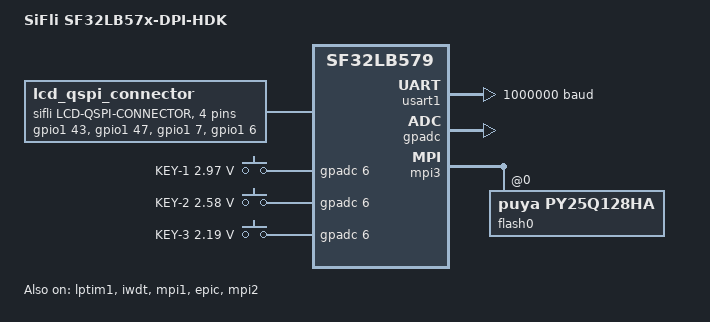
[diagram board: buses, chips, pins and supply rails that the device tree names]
// SPDX-FileCopyrightText: 2026 Core Devices LLC
// SPDX-License-Identifier: (GPL-2.0-only OR BSD-2-Clause)

/dts-v1/;

#include "sifli/sf32lb579.dtsi"
#include "sifli/sf32lb57xv6e.dtsi"
#include "sf32lb57_dpi_hdk-pinctrl.dtsi"

#include <dt-bindings/connector/sifli,lcd-qspi-connector.h>
#include <dt-bindings/gpio/gpio.h>
#include <dt-bindings/input/input.h>
#include <dt-bindings/interrupt-controller/irq.h>

/ {
	model = "SiFli SF32LB57x-DPI-HDK";
	compatible = "sifli,sf32lb57-dpi-hdk", "sifli,sf32lb579";

	// FPC2 (LCDC-QSPI), with H20 fitted for its supply, H15 and H16 for the
	// touchscreen I2C on PA22 and PA23, and H14 for its pull-ups
	lcd_qspi_connector: lcd-qspi-connector {
		compatible = "sifli,lcd-qspi-connector";
		#address-cells = <0>;
		#gpio-cells = <2>;
		gpio-map-mask = <0xffffffff 0x0>;
		gpio-map-pass-thru = <0x0 0xffffffff>;
		gpio-map = <SIFLI_LCD_QSPI_RESET 0 &gpio1 43 0>,
			   <SIFLI_LCD_QSPI_TE 0 &gpio1 47 0>,
			   <SIFLI_LCD_QSPI_TP_RESET 0 &gpio1 7 0>,
			   <SIFLI_LCD_QSPI_TP_INT 0 &gpio1 6 0>;
		#interrupt-cells = <2>;
		interrupt-map = <SIFLI_LCD_QSPI_TP_INT IRQ_TYPE_EDGE_RISING
				 &gpio1 6 IRQ_TYPE_EDGE_RISING>,
				<SIFLI_LCD_QSPI_TP_INT IRQ_TYPE_EDGE_FALLING
				 &gpio1 6 IRQ_TYPE_EDGE_FALLING>,
				<SIFLI_LCD_QSPI_TP_INT IRQ_TYPE_EDGE_BOTH
				 &gpio1 6 IRQ_TYPE_EDGE_BOTH>,
				<SIFLI_LCD_QSPI_TP_INT IRQ_TYPE_LEVEL_HIGH
				 &gpio1 6 IRQ_TYPE_LEVEL_HIGH>,
				<SIFLI_LCD_QSPI_TP_INT IRQ_TYPE_LEVEL_LOW
				 &gpio1 6 IRQ_TYPE_LEVEL_LOW>;
	};

	// KEY-1..3 pull PA34 up through a ladder, which raises its GPIO too
	adc-keys {
		compatible = "adc-keys-irq";
		io-channels = <&gpadc 6>;
		io-channel-names = "buttons";
		interrupts-extended = <&gpio1 34 IRQ_TYPE_EDGE_BOTH>;
		pinctrl-0 = <&keys_default>;
		pinctrl-names = "default";
		keyup-threshold-microvolt = <0>;

		button-up {
			label = "KEY-1";
			linux,code = <KEY_UP>;
			press-threshold-microvolt = <2970000>;
		};

		button-select {
			label = "KEY-2";
			linux,code = <KEY_SELECT>;
			press-threshold-microvolt = <2580000>;
		};

		button-down {
			label = "KEY-3";
			linux,code = <KEY_DOWN>;
			press-threshold-microvolt = <2190000>;
		};
	};
};

&usart1 {
	pinctrl-0 = <&usart1_default>;
	pinctrl-names = "default";
	current-speed = <1000000>;
	dmas = <&gpdma1 6 5 2>;
	dma-names = "rx";
	status = "okay";
};

lcd_qspi_lcdc: &lcdc1 {
	pinctrl-0 = <&lcdc1_default>;
	pinctrl-names = "default";
};

lcd_qspi_i2c: &i2c1 {
	pinctrl-0 = <&i2c1_default>;
	pinctrl-names = "default";
};

&lptim1 {
	status = "okay";
};

&iwdt {
	status = "okay";
};

&gpadc {
	status = "okay";
};

&mpi1 {
	status = "okay";
};

&psram {
	vcc-supply = <&ldo18>;
};

&epic {
	status = "okay";
};

&mpi2 {
	status = "okay";
};

&sip_flash {
	partitions {
		compatible = "fixed-partitions";
		#address-cells = <1>;
		#size-cells = <1>;

		/* Boot ROM flash table, then the factory calibration data */
		partition@0 {
			label = "ptable";
			reg = <0x0 0x10000>;
		};

		partition@10000 {
			label = "code";
			reg = <0x10000 0x3f0000>;
		};
	};
};

&mpi3 {
	pinctrl-0 = <&mpi3_default>;
	pinctrl-names = "default";
	status = "okay";

	flash0: flash@0 {
		compatible = "puya,py25q128ha", "jedec,spi-nor";
		reg = <0>;
		spi-rx-bus-width = <4>;
		spi-tx-bus-width = <4>;
	};
};
